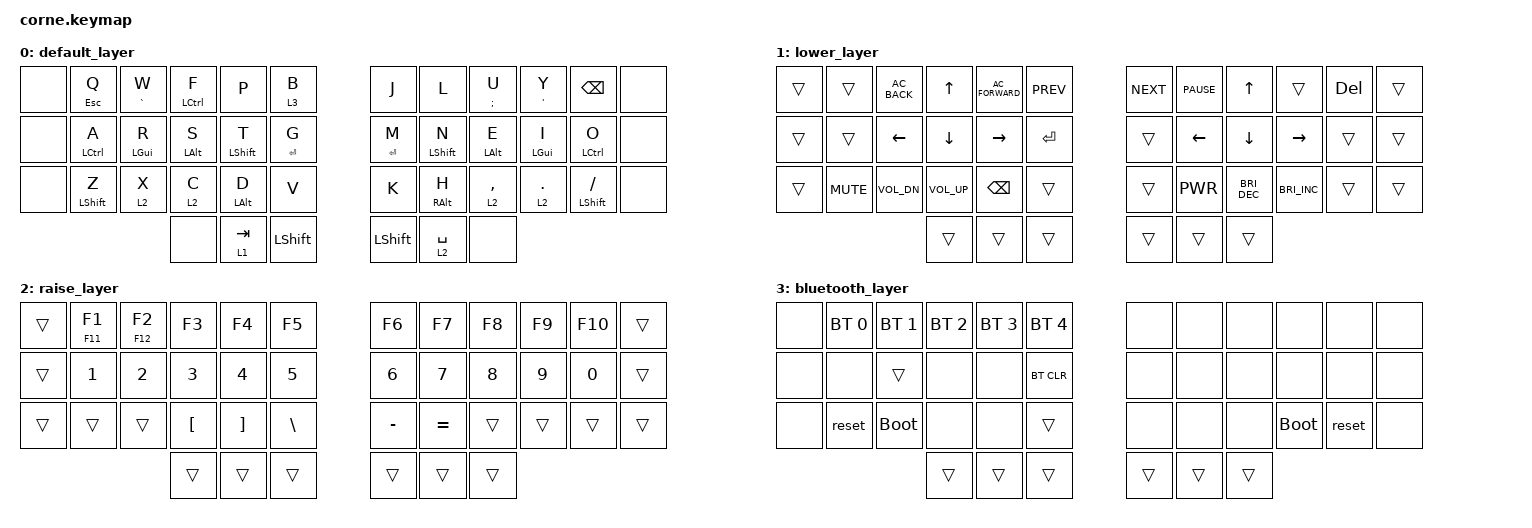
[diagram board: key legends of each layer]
#include <behaviors.dtsi>
#include <dt-bindings/zmk/keys.h>
#include <dt-bindings/zmk/bt.h>



//#define QWERTY   0
//#define SPCNAV   1
//#define ENTNUM   2
//#define GFN      3



/ {
    behaviors {
        hm: homerow_mods {
            compatible = "zmk,behavior-hold-tap";
            label = "HOMEROW_MODS";
            #binding-cells = <2>;
            tapping-term-ms = <150>;
            quick_tap_ms = <0>;
            flavor = "tap-preferred";
            bindings = <&kp>, <&kp>;
        };
    };

    keymap {
        compatible = "zmk,keymap";
default_layer {
               bindings = <
&none   &hm ESC Q &hm GRAVE W &hm LCTRL F &kp P &lt 3 B   &kp J &kp L  &hm SEMI U    &hm SQT Y   &kp BSPC    &none        
   &none &hm LCTRL A &hm LGUI R &hm LALT S &hm LSHFT T &hm RET G   &hm RET M &hm LSHFT N &hm LALT E &hm LGUI I &hm LCTRL O &none
   &none &hm LSHFT Z &lt 2 X &lt 2 C &hm LALT D &kp V   &kp K &hm RALT H  &lt 2 COMMA &lt 2 DOT &hm LSHFT FSLH &none
                  &none &lt 1 TAB &kp LSHIFT   &kp LSHIFT &lt 2 SPACE &none
            >;
        };


lower_layer {
            bindings = <
                &trans     &trans &kp C_AC_BACK      &kp UP     &kp C_AC_FORWARD      &kp C_PREV     &kp C_NEXT      &kp C_PAUSE     &kp UP      &trans     &kp DEL      &trans    
                &trans &trans  &kp LEFT    &kp DOWN    &kp RIGHT    &kp RET   &trans                      &kp LEFT     &kp DOWN   &kp RIGHT     &trans    &trans       
                 &trans  &kp C_MUTE        &kp C_VOL_DN    &kp C_VOL_UP       &kp BSPC       &trans            &trans    &kp C_PWR   &kp C_BRIGHTNESS_DEC    &kp C_BRIGHTNESS_INC      &trans    &trans
                                          &trans      &trans  &trans      &trans  &trans  &trans
            >;
        };

       raise_layer {
            bindings = <
                &trans       &hm F11 F1  &hm F12 F2    &kp F3      &kp F4  &kp F5    &kp F6     &kp F7  &kp F8    &kp F9  &kp F10 &trans
                &trans  &kp N1       &kp N2          &kp N3          &kp N4      &kp N5                          &kp N6      &kp N7      &kp N8      &kp N9      &kp N0      &trans
                &trans  &trans   &trans    &kp LBKT    &kp RBKT  &kp BACKSLASH                        &kp MINUS   &kp EQUAL   &trans       &trans    &trans      &trans
                                                                    &trans      &trans      &trans      &trans  &trans      &trans
            >;
        };

 



        bluetooth_layer {
            bindings = <
                &none  &bt BT_SEL 0     &bt BT_SEL 1    &bt BT_SEL 2    &bt BT_SEL 3    &bt BT_SEL 4                        &none   &none   &none   &none   &none   &none
                &none  &none  &trans &none           &none           &bt BT_CLR                          &none   &none   &none   &none   &none   &none
                &none  &reset  &bootloader           &none           &none           &trans                              &none   &none   &none   &bootloader   &reset   &none
                                                                        &trans          &trans          &trans      &trans  &trans  &trans
            >;
        };


    };
};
